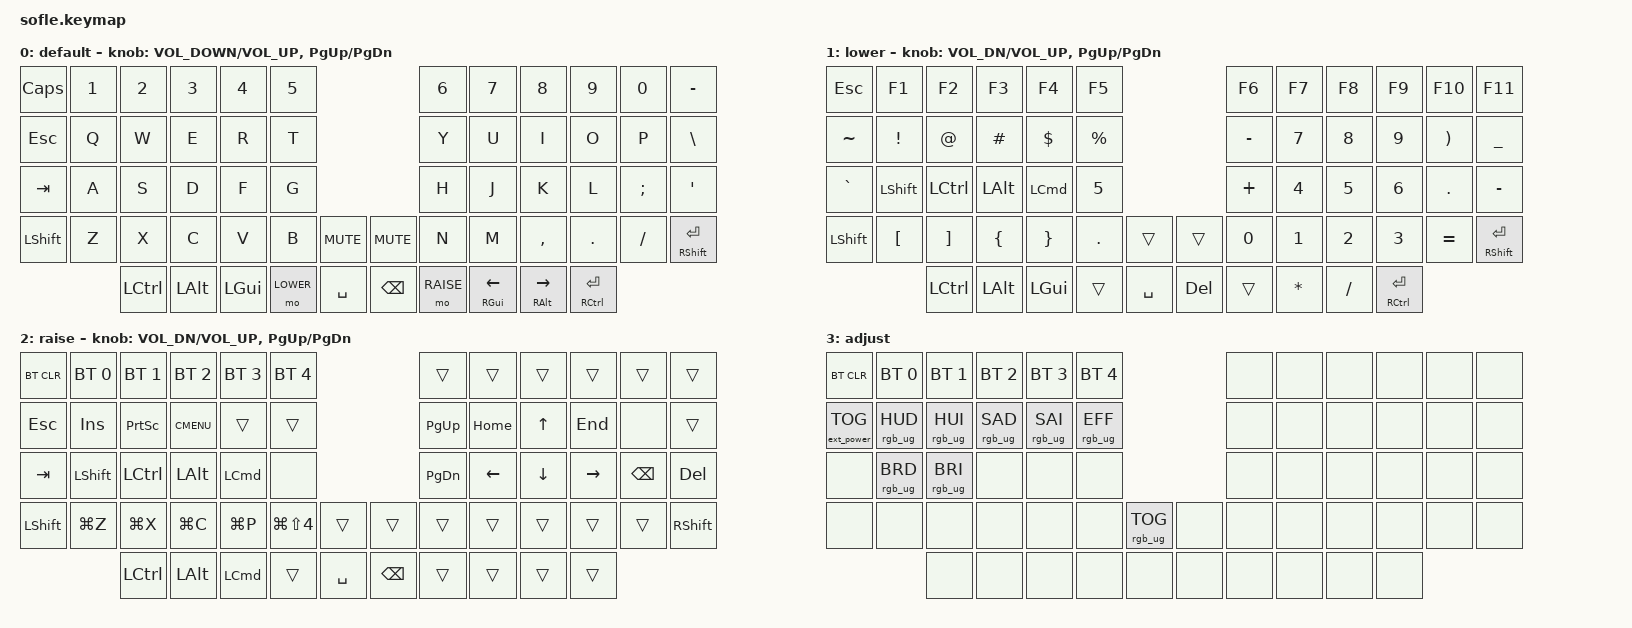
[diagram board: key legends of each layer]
/*
 * Copyright (c) 2020 The ZMK Contributors
 *
 * SPDX-License-Identifier: MIT
 */

#include <behaviors.dtsi>
#include <dt-bindings/zmk/bt.h>
#include <dt-bindings/zmk/ext_power.h>
#include <dt-bindings/zmk/keys.h>
#include <dt-bindings/zmk/rgb.h>

#define BASE 0
#define LOWER 1
#define RAISE 2
#define ADJUST 3

/ {
    // Activate ADJUST layer by pressing raise and lower

    conditional_layers {
        compatible = "zmk,conditional-layers";

        adjust_layer {
            if-layers = <LOWER RAISE>;
            then-layer = <ADJUST>;
        };
    };

    keymap {
        compatible = "zmk,keymap";

        default_layer {
            label = "default";

            // ------------------------------------------------------------------------------------------------------------
            // |   `   |  1  |  2  |  3   |  4   |  5   |                   |  6   |  7    |  8    |  9   |   0   |       |
            // |  ESC  |  Q  |  W  |  E   |  R   |  T   |                   |  Y   |  U    |  I    |  O   |   P   | BKSPC |
            // |  TAB  |  A  |  S  |  D   |  F   |  G   |                   |  H   |  J    |  K    |  L   |   ;   |   '   |
            // | SHIFT |  Z  |  X  |  C   |  V   |  B   |  MUTE  |  |       |  N   |  M    |  ,    |  .   |   /   | SHIFT |
            //               | GUI | ALT  | CTRL | LOWER|  ENTER |  | SPACE | RAISE| CTRL  | ALT   | GUI  |

            bindings = <
&kp CAPS    &kp N1  &kp N2     &kp N3        &kp N4    &kp N5                                  &kp N6     &kp N7               &kp N8                     &kp N9           &kp N0         &kp MINUS
&kp ESCAPE  &kp Q   &kp W      &kp E         &kp R     &kp T                                   &kp Y      &kp U                &kp I                      &kp O            &kp P          &kp BACKSLASH
&kp TAB     &kp A   &kp S      &kp D         &kp F     &kp G                                   &kp H      &kp J                &kp K                      &kp L            &kp SEMICOLON  &kp SQT
&kp LSHFT   &kp Z   &kp X      &kp C         &kp V     &kp B      &kp C_MUTE    &kp C_MUTE     &kp N      &kp M                &kp COMMA                  &kp DOT          &kp FSLH       &mt RSHFT ENTER
                    &kp LCTRL  &kp LEFT_ALT  &kp LGUI  &mo LOWER  &kp SPACE     &kp BACKSPACE  &mo RAISE  &mt RGUI LEFT_ARROW  &mt RIGHT_ALT RIGHT_ARROW  &mt RCTRL ENTER
            >;

            sensor-bindings =
                <&inc_dec_kp C_VOLUME_DOWN C_VOLUME_UP>,
                <&inc_dec_kp PG_UP PG_DN>;
        };

        lower_layer {
            label = "lower";

            // TODO: Some binds are waiting for shifted keycode support.
            // ------------------------------------------------------------------------------------------------------------
            // |       |  F1 |  F2 |  F3  |  F4  |  F5  |                   |  F6  |  F7   |  F8   |  F9  |  F10  |  F11  |
            // |   `   |  1  |  2  |  3   |  4   |  5   |                   |  6   |  7    |  8    |  9   |   0   |  F12  |
            // |       |  !  |  @  |  #   |  $   |  %   |                   |  ^   |  &    |  *    |  (   |   )   |   |   |
            // |       |  =  |  -  |  +   |  {   |  }   |        |  |       |  [   |  ]    |  ;    |  :   |   \   |       |
            //               |     |      |      |      |        |  |       |      |       |       |      |

            bindings = <
&kp ESCAPE  &kp F1            &kp F2             &kp F3          &kp F4           &kp F5                             &kp F6     &kp F7        &kp F8        &kp F9            &kp F10                &kp F11
&kp TILDE   &kp EXCLAMATION   &kp AT_SIGN        &kp HASH        &kp DOLLAR       &kp PERCENT                        &kp MINUS  &kp N7        &kp N8        &kp N9            &kp RIGHT_PARENTHESIS  &kp UNDERSCORE
&kp GRAVE   &kp LSHFT         &kp LCTRL          &kp LALT        &kp LCMD         &kp N5                             &kp PLUS   &kp NUMBER_4  &kp N5        &kp NUMBER_6      &kp PERIOD             &kp MINUS
&kp LSHFT   &kp LEFT_BRACKET  &kp RIGHT_BRACKET  &kp LEFT_BRACE  &kp RIGHT_BRACE  &kp PERIOD   &trans       &trans   &kp N0     &kp NUMBER_1  &kp NUMBER_2  &kp NUMBER_3      &kp EQUAL              &mt RSHIFT ENTER
                              &kp LCTRL          &kp LALT        &kp LGUI         &trans       &kp SPACE    &kp DEL  &trans     &kp STAR      &kp SLASH     &mt RCTRL RETURN
            >;

            sensor-bindings =
                <&inc_dec_kp C_VOL_DN C_VOL_UP>,
                <&inc_dec_kp PG_UP PG_DN>;
        };

        raise_layer {
            label = "raise";

            // ------------------------------------------------------------------------------------------------------------
            // | BTCLR | BT1  | BT2  |  BT3  |  BT4  |  BT5 |                |      |      |       |      |       |       |
            // |       | INS  | PSCR | GUI   |       |      |                | PGUP |      |   ^   |      |       |       |
            // |       | ALT  | CTRL | SHIFT |       | CAPS |                | PGDN |   <- |   v   |  ->  |  DEL  | BKSPC |
            // |       | UNDO | CUT  | COPY  | PASTE |      |      |  |      |      |      |       |      |       |       |
            //                |      |       |       |      |      |  |      |      |      |       |      |

            bindings = <
&bt BT_CLR  &bt BT_SEL 0  &bt BT_SEL 1  &bt BT_SEL 2  &bt BT_SEL 3  &bt BT_SEL 4                                      &trans     &trans    &trans    &trans     &trans         &trans
&kp ESCAPE  &kp INS       &kp PSCRN     &kp K_CMENU   &trans        &trans                                            &kp PG_UP  &kp HOME  &kp UP    &kp END    &none          &trans
&kp TAB     &kp LSHFT     &kp LCTRL     &kp LALT      &kp LCMD      &none                                             &kp PG_DN  &kp LEFT  &kp DOWN  &kp RIGHT  &kp BACKSPACE  &kp DEL
&kp LSHFT   &kp LG(Z)     &kp LG(X)     &kp LG(C)     &kp LG(P)     &kp LG(LS(NUMBER_4))  &trans       &trans         &trans     &trans    &trans    &trans     &trans         &kp RSHFT
                          &kp LCTRL     &kp LEFT_ALT  &kp LCMD      &trans                &kp SPACE    &kp BACKSPACE  &trans     &trans    &trans    &trans
            >;

            sensor-bindings =
                <&inc_dec_kp C_VOL_DN C_VOL_UP>,
                <&inc_dec_kp PG_UP PG_DN>;
        };

        adjust_layer {
            // ----------------------------------------------------------------------------------------------------------------------------
            // | BTCLR  |  BT1    |  BT2    |   BT3   |   BT4   |   BT5   |                  |      |      |       |      |       |       |
            // | EXTPWR | RGB_HUD | RGB_HUI | RGB_SAD | RGB_SAI | RGB_EFF |                  |      |      |       |      |       |       |
            // |        | RGB_BRD | RGB_BRI |         |         |         |                  |      |      |       |      |       |       |
            // |        |         |         |         |         |         | RGB_TOG | |      |      |      |       |      |       |       |
            //                    |         |         |         |         |         | |      |      |      |       |      |

            label = "adjust";
            bindings = <
&bt BT_CLR         &bt BT_SEL 0     &bt BT_SEL 1     &bt BT_SEL 2     &bt BT_SEL 3     &bt BT_SEL 4                               &none  &none  &none  &none  &none  &none
&ext_power EP_TOG  &rgb_ug RGB_HUD  &rgb_ug RGB_HUI  &rgb_ug RGB_SAD  &rgb_ug RGB_SAI  &rgb_ug RGB_EFF                            &none  &none  &none  &none  &none  &none
&none              &rgb_ug RGB_BRD  &rgb_ug RGB_BRI  &none            &none            &none                                      &none  &none  &none  &none  &none  &none
&none              &none            &none            &none            &none            &none            &rgb_ug RGB_TOG    &none  &none  &none  &none  &none  &none  &none
                                    &none            &none            &none            &none            &none              &none  &none  &none  &none  &none
            >;
        };
    };
};
